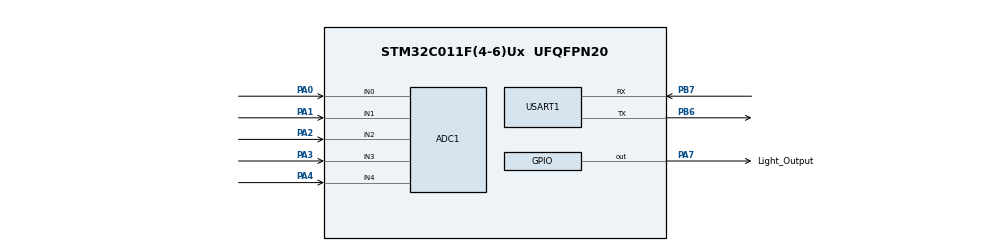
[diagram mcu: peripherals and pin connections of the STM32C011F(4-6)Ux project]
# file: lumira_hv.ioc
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ADC1.Channel-0\#ChannelRegularConversion=ADC_CHANNEL_0
ADC1.Channel-1\#ChannelRegularConversion=ADC_CHANNEL_1
ADC1.Channel-2\#ChannelRegularConversion=ADC_CHANNEL_2
ADC1.Channel-3\#ChannelRegularConversion=ADC_CHANNEL_3
ADC1.Channel-4\#ChannelRegularConversion=ADC_CHANNEL_4
ADC1.ContinuousConvMode=DISABLE
ADC1.DMAContinuousRequests=ENABLE
ADC1.DiscontinuousConvMode=DISABLE
ADC1.EOCSelection=ADC_EOC_SEQ_CONV
ADC1.ExternalTrigConv=ADC_EXTERNALTRIG_T3_TRGO
ADC1.NbrOfConversion=5
ADC1.NbrOfConversionFlag=1
ADC1.OffsetNumber-4\#ChannelRegularConversion=ADC_OFFSET_NONE
ADC1.Rank-0\#ChannelRegularConversion=1
ADC1.Rank-1\#ChannelRegularConversion=2
ADC1.Rank-2\#ChannelRegularConversion=3
ADC1.Rank-3\#ChannelRegularConversion=4
ADC1.Rank-4\#ChannelRegularConversion=5
ADC1.SamplingTime-0\#ChannelRegularConversion=ADC_SAMPLINGTIME_COMMON_1
ADC1.SamplingTime-1\#ChannelRegularConversion=ADC_SAMPLINGTIME_COMMON_1
ADC1.SamplingTime-2\#ChannelRegularConversion=ADC_SAMPLINGTIME_COMMON_1
ADC1.SamplingTime-3\#ChannelRegularConversion=ADC_SAMPLINGTIME_COMMON_1
ADC1.SamplingTime-4\#ChannelRegularConversion=ADC_SAMPLINGTIME_COMMON_1
ADC1.SamplingTimeCommon1=ADC_SAMPLETIME_1CYCLE_5
ADC1.SamplingTimeCommon2=ADC_SAMPLETIME_160CYCLES_5
ADC1.SelectedChannel=ADC_CHANNEL_0|ADC_CHANNEL_1|ADC_CHANNEL_2|ADC_CHANNEL_3|ADC_CHANNEL_4
ADC1.Sequencer=FULLY_CONFIGURABLE
ADC1.master=1
Dma.ADC1.0.Direction=DMA_PERIPH_TO_MEMORY
Dma.ADC1.0.EventEnable=DISABLE
Dma.ADC1.0.Instance=DMA1_Channel1
Dma.ADC1.0.MemDataAlignment=DMA_MDATAALIGN_HALFWORD
Dma.ADC1.0.MemInc=DMA_MINC_ENABLE
Dma.ADC1.0.Mode=DMA_CIRCULAR
Dma.ADC1.0.PeriphDataAlignment=DMA_PDATAALIGN_HALFWORD
Dma.ADC1.0.PeriphInc=DMA_PINC_DISABLE
Dma.ADC1.0.Polarity=HAL_DMAMUX_REQ_GEN_RISING
Dma.ADC1.0.Priority=DMA_PRIORITY_LOW
Dma.ADC1.0.RequestNumber=1
Dma.ADC1.0.SignalID=NONE
Dma.ADC1.0.SyncEnable=DISABLE
Dma.ADC1.0.SyncPolarity=HAL_DMAMUX_SYNC_NO_EVENT
Dma.ADC1.0.SyncRequestNumber=1
Dma.ADC1.0.SyncSignalID=NONE
Dma.Request0=ADC1
Mcu.Family=STM32C0
Mcu.Name=STM32C011F(4-6)Ux
Mcu.Package=UFQFPN20
NVIC.ADC1_IRQn=true\:0\:0\:false\:false\:true\:true\:true\:true
NVIC.DMA1_Channel1_IRQn=true\:0\:0\:false\:false\:true\:false\:true\:true
NVIC.USART1_IRQn=true\:0\:0\:false\:false\:true\:true\:true\:true
PA0.Signal=SharedAnalog_PA0
PA1.Signal=SharedAnalog_PA1
PA2.Signal=SharedAnalog_PA2
PA3.Signal=SharedAnalog_PA3
PA4.Signal=SharedAnalog_PA4
PA7.GPIO_Label=Light_Output
PA7.GPIO_Speed=GPIO_SPEED_FREQ_HIGH
PA7.Signal=GPIO_Output
PB6.Mode=Asynchronous
PB6.Signal=USART1_TX
PB7.Mode=Asynchronous
PB7.Signal=USART1_RX
ProjectManager.HeapSize=0x200
ProjectManager.StackSize=0x400
ProjectManager.TargetToolchain=STM32CubeIDE
RCC.ADCCLockSelection=RCC_ADCCLKSOURCE_HSIKER
RCC.ADCFreq_Value=24000000
RCC.AHBFreq_Value=48000000
RCC.CortexFreq_Value=48000000
RCC.EXTERNAL_CLOCK_VALUE=12288000
RCC.HCLKFreq_Value=48000000
RCC.HSE_VALUE=8000000
RCC.HSIKERCLKDivider=RCC_HSIKER_DIV2
RCC.HSISYSCLKDivider=RCC_HSI_DIV1
RCC.HSI_VALUE=48000000
RCC.LSE_VALUE=32768
RCC.SYSCLKFreq_VALUE=48000000
SH.SharedAnalog_PA0.0=GPIO_Analog
SH.SharedAnalog_PA0.1=ADC1_IN0,IN0
SH.SharedAnalog_PA1.0=GPIO_Analog
SH.SharedAnalog_PA1.1=ADC1_IN1,IN1
SH.SharedAnalog_PA2.0=GPIO_Analog
SH.SharedAnalog_PA2.1=ADC1_IN2,IN2
SH.SharedAnalog_PA3.0=GPIO_Analog
SH.SharedAnalog_PA3.1=ADC1_IN3,IN3
SH.SharedAnalog_PA4.0=GPIO_Analog
SH.SharedAnalog_PA4.1=ADC1_IN4,IN4
TIM3.Period=4799
TIM3.Prescaler=0
TIM3.TIM_MasterOutputTrigger=TIM_TRGO_UPDATE
USART1.VirtualMode-Asynchronous=VM_ASYNC
VP_TIM3_VS_ClockSourceINT.Mode=Internal
board=custom

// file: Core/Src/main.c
/* USER CODE BEGIN Header */
/**
 ******************************************************************************
 * @file           : main.c
 * @brief          : Main program body
 ******************************************************************************
 * @attention
 *
 * Copyright (c) 2026 STMicroelectronics.
 * All rights reserved.
 *
 * This software is licensed under terms that can be found in the LICENSE file
 * in the root directory of this software component.
 * If no LICENSE file comes with this software, it is provided AS-IS.
 *
 ******************************************************************************
 */
/* USER CODE END Header */
#include "main.h"

/* USER CODE BEGIN Includes */
#include <string.h>
#include <stdio.h>
#include <math.h>
/* USER CODE END Includes */

/* USER CODE BEGIN PD */
#define SYSCLK_HZ (48000000UL)
#define SAMPLE_PERIOD_US (100UL)
#define SAMPLE_TIMER_ARR ((SYSCLK_HZ / 1000000UL) * SAMPLE_PERIOD_US - 1UL) /* 4800-1 */

#define ADC_SEQ_LEN (5U)
#define N_RMS (128U)

/* placeholders - adjust to your hardware scaling */
#define ADC_REF_VOLT (3.3)
#define ADC_MAX_COUNTS (4095.0)
#define NEUTRAL_ADC_COUNTS (2048.0)

#define ADC_NUM_CH 5U
#define ADC_FRAMES 8U
#define ADC_DATA_BUFFER_SIZE (ADC_NUM_CH * ADC_FRAMES)
#define ADC_DELAY_CALIB_ENABLE_CPU_CYCLES (LL_ADC_DELAY_CALIB_ENABLE_ADC_CYCLES * 32)
#define VDDA_APPLI (3300U)
#define MSG_BUFFER_SIZE (64U)
/* USER CODE END PD */

/* USER CODE BEGIN PV */
uint16_t voltageRawValue[ADC_DATA_BUFFER_SIZE];
__IO uint8_t adcDmaTransferStatus = 2; // 2 = idle / nothing ready yet;
/* USER CODE END PV */

void SystemClock_Config(void);
static void MX_GPIO_Init(void);
static void MX_DMA_Init(void);
static void MX_USART1_UART_Init(void);
static void MX_ADC1_Init(void);
static void MX_TIM3_Init(void);
/* USER CODE BEGIN PFP */
static void USART1_Write(const char *s);

void ADC_Calibration_Start();
void ADC_DMA_Start();
void TIM_Base_Start();
/* USER CODE END PFP */

int main(void)
{

  /* USER CODE BEGIN 1 */
  uint32_t startIndex = 0;
  /* USER CODE END 1 */

  /* MCU Configuration--------------------------------------------------------*/

  /* Reset of all peripherals, Initializes the Flash interface and the Systick. */
  LL_APB2_GRP1_EnableClock(LL_APB2_GRP1_PERIPH_SYSCFG);
  LL_APB1_GRP1_EnableClock(LL_APB1_GRP1_PERIPH_PWR);

  /* SysTick_IRQn interrupt configuration */
  NVIC_SetPriority(SysTick_IRQn, 3);

  /* Configure the system clock */
  SystemClock_Config();

  /* Initialize all configured peripherals */
  MX_GPIO_Init();
  MX_DMA_Init();
  MX_USART1_UART_Init();
  MX_ADC1_Init();
  MX_TIM3_Init();
  /* USER CODE BEGIN 2 */
  LL_GPIO_ResetOutputPin(Light_Output_GPIO_Port, Light_Output_Pin);
  ADC_Calibration_Start();
  ADC_DMA_Start();
  TIM_Base_Start();
  /* USER CODE END 2 */

  /* Infinite loop */
  /* USER CODE BEGIN WHILE */

  char buf[MSG_BUFFER_SIZE];

  while (1)
  {
    if ((adcDmaTransferStatus == 1) || (adcDmaTransferStatus == 0))
    {
      uint8_t st = adcDmaTransferStatus;
      adcDmaTransferStatus = 2;

      startIndex = (st == 1) ? ADC_DATA_BUFFER_SIZE / 2 : 0;

      uint16_t ch0 = voltageRawValue[startIndex + 0];
      uint16_t ch1 = voltageRawValue[startIndex + 1];
      uint16_t ch2 = voltageRawValue[startIndex + 2];
      uint16_t ch3 = voltageRawValue[startIndex + 3];
      uint16_t ch4 = voltageRawValue[startIndex + 4];

      snprintf(buf, sizeof(buf),
               "ADC (%s): ch0=%u ch1=%u ch2=%u ch3=%u ch4=%u\r\n",
               (st == 0) ? "HT" : "TC",
               ch0, ch1, ch2, ch3, ch4);
      USART1_Write(buf);
    }

    /* slow down printing so UART keeps up */
    LL_mDelay(200); // 200 ms
    /* USER CODE END WHILE */

  }
}

void SystemClock_Config(void)
{

  LL_FLASH_SetLatency(LL_FLASH_LATENCY_1);

  /* HSI configuration and activation */
  LL_RCC_HSI_Enable();
  while(LL_RCC_HSI_IsReady() != 1)
  {
  }

  LL_RCC_HSI_SetCalibTrimming(64);
  LL_RCC_SetHSIDiv(LL_RCC_HSI_DIV_1);
  LL_RCC_SetHSIKERDiv(LL_RCC_HSIKER_DIV_2);
  /* Set AHB prescaler*/
  LL_RCC_SetAHBPrescaler(LL_RCC_HCLK_DIV_1);

  /* Sysclk activation on the HSI */
  LL_RCC_SetSysClkSource(LL_RCC_SYS_CLKSOURCE_HSI);
  while(LL_RCC_GetSysClkSource() != LL_RCC_SYS_CLKSOURCE_STATUS_HSI)
  {
  }

  /* Set APB1 prescaler*/
  LL_RCC_SetAPB1Prescaler(LL_RCC_APB1_DIV_1);
  LL_Init1msTick(48000000);
  /* Update CMSIS variable (which can be updated also through SystemCoreClockUpdate function) */
  LL_SetSystemCoreClock(48000000);
}

static void MX_ADC1_Init(void)
{

  LL_ADC_InitTypeDef ADC_InitStruct = {0};
  LL_ADC_REG_InitTypeDef ADC_REG_InitStruct = {0};

  LL_GPIO_InitTypeDef GPIO_InitStruct = {0};

  LL_RCC_SetADCClockSource(LL_RCC_ADC_CLKSOURCE_HSIKER);

  /* Peripheral clock enable */
  LL_APB2_GRP1_EnableClock(LL_APB2_GRP1_PERIPH_ADC);

  LL_IOP_GRP1_EnableClock(LL_IOP_GRP1_PERIPH_GPIOA);
  /**ADC1 GPIO Configuration
  PA0   ------> ADC1_IN0
  PA1   ------> ADC1_IN1
  PA2   ------> ADC1_IN2
  PA3   ------> ADC1_IN3
  PA4   ------> ADC1_IN4
  */
  GPIO_InitStruct.Pin = LL_GPIO_PIN_0;
  GPIO_InitStruct.Mode = LL_GPIO_MODE_ANALOG;
  GPIO_InitStruct.Pull = LL_GPIO_PULL_NO;
  LL_GPIO_Init(GPIOA, &GPIO_InitStruct);

  GPIO_InitStruct.Pin = LL_GPIO_PIN_1;
  GPIO_InitStruct.Mode = LL_GPIO_MODE_ANALOG;
  GPIO_InitStruct.Pull = LL_GPIO_PULL_NO;
  LL_GPIO_Init(GPIOA, &GPIO_InitStruct);

  GPIO_InitStruct.Pin = LL_GPIO_PIN_2;
  GPIO_InitStruct.Mode = LL_GPIO_MODE_ANALOG;
  GPIO_InitStruct.Pull = LL_GPIO_PULL_NO;
  LL_GPIO_Init(GPIOA, &GPIO_InitStruct);

  GPIO_InitStruct.Pin = LL_GPIO_PIN_3;
  GPIO_InitStruct.Mode = LL_GPIO_MODE_ANALOG;
  GPIO_InitStruct.Pull = LL_GPIO_PULL_NO;
  LL_GPIO_Init(GPIOA, &GPIO_InitStruct);

  GPIO_InitStruct.Pin = LL_GPIO_PIN_4;
  GPIO_InitStruct.Mode = LL_GPIO_MODE_ANALOG;
  GPIO_InitStruct.Pull = LL_GPIO_PULL_NO;
  LL_GPIO_Init(GPIOA, &GPIO_InitStruct);

  /* ADC1 DMA Init */

  /* ADC1 Init */
  LL_DMA_SetPeriphRequest(DMA1, LL_DMA_CHANNEL_1, LL_DMAMUX_REQ_ADC1);

  LL_DMA_SetDataTransferDirection(DMA1, LL_DMA_CHANNEL_1, LL_DMA_DIRECTION_PERIPH_TO_MEMORY);

  LL_DMA_SetChannelPriorityLevel(DMA1, LL_DMA_CHANNEL_1, LL_DMA_PRIORITY_LOW);

  LL_DMA_SetMode(DMA1, LL_DMA_CHANNEL_1, LL_DMA_MODE_CIRCULAR);

  LL_DMA_SetPeriphIncMode(DMA1, LL_DMA_CHANNEL_1, LL_DMA_PERIPH_NOINCREMENT);

  LL_DMA_SetMemoryIncMode(DMA1, LL_DMA_CHANNEL_1, LL_DMA_MEMORY_INCREMENT);

  LL_DMA_SetPeriphSize(DMA1, LL_DMA_CHANNEL_1, LL_DMA_PDATAALIGN_HALFWORD);

  LL_DMA_SetMemorySize(DMA1, LL_DMA_CHANNEL_1, LL_DMA_MDATAALIGN_HALFWORD);

  /* ADC1 interrupt Init */
  NVIC_SetPriority(ADC1_IRQn, 0);
  NVIC_EnableIRQ(ADC1_IRQn);

  /** Configure the global features of the ADC (Clock, Resolution, Data Alignment and number of conversion)
  */

   #define ADC_CHANNEL_CONF_RDY_TIMEOUT_MS ( 1U)
   #if (USE_TIMEOUT == 1)
   uint32_t Timeout ; /* Variable used for Timeout management */
   #endif /* USE_TIMEOUT */

  ADC_InitStruct.Clock = LL_ADC_CLOCK_SYNC_PCLK_DIV2;
  ADC_InitStruct.Resolution = LL_ADC_RESOLUTION_12B;
  ADC_InitStruct.DataAlignment = LL_ADC_DATA_ALIGN_RIGHT;
  ADC_InitStruct.LowPowerMode = LL_ADC_LP_MODE_NONE;
  LL_ADC_Init(ADC1, &ADC_InitStruct);
  LL_ADC_REG_SetSequencerConfigurable(ADC1, LL_ADC_REG_SEQ_CONFIGURABLE);

   /* Poll for ADC channel configuration ready */
   #if (USE_TIMEOUT == 1)
   Timeout = ADC_CHANNEL_CONF_RDY_TIMEOUT_MS;
   #endif /* USE_TIMEOUT */
   while (LL_ADC_IsActiveFlag_CCRDY(ADC1) == 0)
     {
   #if (USE_TIMEOUT == 1)
   /* Check Systick counter flag to decrement the time-out value */
   if (LL_SYSTICK_IsActiveCounterFlag())
     {
   if(Timeout-- == 0)
         {
   Error_Handler();
         }
     }
   #endif /* USE_TIMEOUT */
     }
   /* Clear flag ADC channel configuration ready */
   LL_ADC_ClearFlag_CCRDY(ADC1);
  ADC_REG_InitStruct.TriggerSource = LL_ADC_REG_TRIG_EXT_TIM3_TRGO;
  ADC_REG_InitStruct.SequencerLength = LL_ADC_REG_SEQ_SCAN_ENABLE_5RANKS;
  ADC_REG_InitStruct.SequencerDiscont = LL_ADC_REG_SEQ_DISCONT_DISABLE;
  ADC_REG_InitStruct.ContinuousMode = LL_ADC_REG_CONV_SINGLE;
  ADC_REG_InitStruct.DMATransfer = LL_ADC_REG_DMA_TRANSFER_UNLIMITED;
  ADC_REG_InitStruct.Overrun = LL_ADC_REG_OVR_DATA_PRESERVED;
  LL_ADC_REG_Init(ADC1, &ADC_REG_InitStruct);
  LL_ADC_SetOverSamplingScope(ADC1, LL_ADC_OVS_DISABLE);
  LL_ADC_SetTriggerFrequencyMode(ADC1, LL_ADC_CLOCK_FREQ_MODE_HIGH);
  LL_ADC_REG_SetTriggerEdge(ADC1, LL_ADC_REG_TRIG_EXT_RISING);
  LL_ADC_SetSamplingTimeCommonChannels(ADC1, LL_ADC_SAMPLINGTIME_COMMON_1, LL_ADC_SAMPLINGTIME_1CYCLE_5);
  LL_ADC_SetSamplingTimeCommonChannels(ADC1, LL_ADC_SAMPLINGTIME_COMMON_2, LL_ADC_SAMPLINGTIME_160CYCLES_5);
  LL_ADC_DisableIT_EOC(ADC1);
  LL_ADC_DisableIT_EOS(ADC1);

   /* Enable ADC internal voltage regulator */
   LL_ADC_EnableInternalRegulator(ADC1);
   /* Delay for ADC internal voltage regulator stabilization. */
   /* Compute number of CPU cycles to wait for, from delay in us. */
   /* Note: Variable divided by 2 to compensate partially */
   /* CPU processing cycles (depends on compilation optimization). */
   /* Note: If system core clock frequency is below 200kHz, wait time */
   /* is only a few CPU processing cycles. */
   uint32_t wait_loop_index;
   wait_loop_index = ((LL_ADC_DELAY_INTERNAL_REGUL_STAB_US * (SystemCoreClock / (100000 * 2))) / 10);
   while(wait_loop_index != 0)
     {
   wait_loop_index--;
     }

  /** Configure Regular Channel
  */
  LL_ADC_REG_SetSequencerRanks(ADC1, LL_ADC_REG_RANK_1, LL_ADC_CHANNEL_0);

   /* Poll for ADC channel configuration ready */
   #if (USE_TIMEOUT == 1)
   Timeout = ADC_CHANNEL_CONF_RDY_TIMEOUT_MS;
   #endif /* USE_TIMEOUT */
   while (LL_ADC_IsActiveFlag_CCRDY(ADC1) == 0)
     {
   #if (USE_TIMEOUT == 1)
   /* Check Systick counter flag to decrement the time-out value */
   if (LL_SYSTICK_IsActiveCounterFlag())
     {
   if(Timeout-- == 0)
         {
   Error_Handler();
         }
     }
   #endif /* USE_TIMEOUT */
     }
   /* Clear flag ADC channel configuration ready */
   LL_ADC_ClearFlag_CCRDY(ADC1);
  LL_ADC_SetChannelSamplingTime(ADC1, LL_ADC_CHANNEL_0, LL_ADC_SAMPLINGTIME_COMMON_1);

  /** Configure Regular Channel
  */
  LL_ADC_REG_SetSequencerRanks(ADC1, LL_ADC_REG_RANK_2, LL_ADC_CHANNEL_1);

   /* Poll for ADC channel configuration ready */
   #if (USE_TIMEOUT == 1)
   Timeout = ADC_CHANNEL_CONF_RDY_TIMEOUT_MS;
   #endif /* USE_TIMEOUT */
   while (LL_ADC_IsActiveFlag_CCRDY(ADC1) == 0)
     {
   #if (USE_TIMEOUT == 1)
   /* Check Systick counter flag to decrement the time-out value */
   if (LL_SYSTICK_IsActiveCounterFlag())
     {
   if(Timeout-- == 0)
         {
   Error_Handler();
         }
     }
   #endif /* USE_TIMEOUT */
     }
   /* Clear flag ADC channel configuration ready */
   LL_ADC_ClearFlag_CCRDY(ADC1);
  LL_ADC_SetChannelSamplingTime(ADC1, LL_ADC_CHANNEL_1, LL_ADC_SAMPLINGTIME_COMMON_1);

  /** Configure Regular Channel
  */
  LL_ADC_REG_SetSequencerRanks(ADC1, LL_ADC_REG_RANK_3, LL_ADC_CHANNEL_2);

   /* Poll for ADC channel configuration ready */
   #if (USE_TIMEOUT == 1)
   Timeout = ADC_CHANNEL_CONF_RDY_TIMEOUT_MS;
   #endif /* USE_TIMEOUT */
   while (LL_ADC_IsActiveFlag_CCRDY(ADC1) == 0)
     {
   #if (USE_TIMEOUT == 1)
   /* Check Systick counter flag to decrement the time-out value */
   if (LL_SYSTICK_IsActiveCounterFlag())
     {
   if(Timeout-- == 0)
         {
   Error_Handler();
         }
     }
   #endif /* USE_TIMEOUT */
     }
   /* Clear flag ADC channel configuration ready */
   LL_ADC_ClearFlag_CCRDY(ADC1);
  LL_ADC_SetChannelSamplingTime(ADC1, LL_ADC_CHANNEL_2, LL_ADC_SAMPLINGTIME_COMMON_1);

  /** Configure Regular Channel
  */
  LL_ADC_REG_SetSequencerRanks(ADC1, LL_ADC_REG_RANK_4, LL_ADC_CHANNEL_3);

   /* Poll for ADC channel configuration ready */
   #if (USE_TIMEOUT == 1)
   Timeout = ADC_CHANNEL_CONF_RDY_TIMEOUT_MS;
   #endif /* USE_TIMEOUT */
   while (LL_ADC_IsActiveFlag_CCRDY(ADC1) == 0)
     {
   #if (USE_TIMEOUT == 1)
   /* Check Systick counter flag to decrement the time-out value */
   if (LL_SYSTICK_IsActiveCounterFlag())
     {
   if(Timeout-- == 0)
         {
   Error_Handler();
         }
     }
   #endif /* USE_TIMEOUT */
     }
   /* Clear flag ADC channel configuration ready */
   LL_ADC_ClearFlag_CCRDY(ADC1);
  LL_ADC_SetChannelSamplingTime(ADC1, LL_ADC_CHANNEL_3, LL_ADC_SAMPLINGTIME_COMMON_1);

  /** Configure Regular Channel
  */
  LL_ADC_REG_SetSequencerRanks(ADC1, LL_ADC_REG_RANK_5, LL_ADC_CHANNEL_4);

   /* Poll for ADC channel configuration ready */
   #if (USE_TIMEOUT == 1)
   Timeout = ADC_CHANNEL_CONF_RDY_TIMEOUT_MS;
   #endif /* USE_TIMEOUT */
   while (LL_ADC_IsActiveFlag_CCRDY(ADC1) == 0)
     {
   #if (USE_TIMEOUT == 1)
   /* Check Systick counter flag to decrement the time-out value */
   if (LL_SYSTICK_IsActiveCounterFlag())
     {
   if(Timeout-- == 0)
         {
   Error_Handler();
         }
     }
   #endif /* USE_TIMEOUT */
     }
   /* Clear flag ADC channel configuration ready */
   LL_ADC_ClearFlag_CCRDY(ADC1);
  LL_ADC_SetChannelSamplingTime(ADC1, LL_ADC_CHANNEL_4, LL_ADC_SAMPLINGTIME_COMMON_1);

}

static void MX_TIM3_Init(void)
{

  LL_TIM_InitTypeDef TIM_InitStruct = {0};

  /* Peripheral clock enable */
  LL_APB1_GRP1_EnableClock(LL_APB1_GRP1_PERIPH_TIM3);

  TIM_InitStruct.Prescaler = 0;
  TIM_InitStruct.CounterMode = LL_TIM_COUNTERMODE_UP;
  TIM_InitStruct.Autoreload = 4799;
  TIM_InitStruct.ClockDivision = LL_TIM_CLOCKDIVISION_DIV1;
  LL_TIM_Init(TIM3, &TIM_InitStruct);
  LL_TIM_DisableARRPreload(TIM3);
  LL_TIM_SetClockSource(TIM3, LL_TIM_CLOCKSOURCE_INTERNAL);
  LL_TIM_SetTriggerOutput(TIM3, LL_TIM_TRGO_UPDATE);
  LL_TIM_DisableMasterSlaveMode(TIM3);

}

static void MX_USART1_UART_Init(void)
{

  LL_USART_InitTypeDef USART_InitStruct = {0};

  LL_GPIO_InitTypeDef GPIO_InitStruct = {0};

  LL_RCC_SetUSARTClockSource(LL_RCC_USART1_CLKSOURCE_PCLK1);

  /* Peripheral clock enable */
  LL_APB2_GRP1_EnableClock(LL_APB2_GRP1_PERIPH_USART1);

  LL_IOP_GRP1_EnableClock(LL_IOP_GRP1_PERIPH_GPIOB);
  /**USART1 GPIO Configuration
  PB6   ------> USART1_TX
  PB7   ------> USART1_RX
  */
  GPIO_InitStruct.Pin = LL_GPIO_PIN_6;
  GPIO_InitStruct.Mode = LL_GPIO_MODE_ALTERNATE;
  GPIO_InitStruct.Speed = LL_GPIO_SPEED_FREQ_LOW;
  GPIO_InitStruct.OutputType = LL_GPIO_OUTPUT_PUSHPULL;
  GPIO_InitStruct.Pull = LL_GPIO_PULL_NO;
  GPIO_InitStruct.Alternate = LL_GPIO_AF_0;
  LL_GPIO_Init(GPIOB, &GPIO_InitStruct);

  GPIO_InitStruct.Pin = LL_GPIO_PIN_7;
  GPIO_InitStruct.Mode = LL_GPIO_MODE_ALTERNATE;
  GPIO_InitStruct.Speed = LL_GPIO_SPEED_FREQ_LOW;
  GPIO_InitStruct.OutputType = LL_GPIO_OUTPUT_PUSHPULL;
  GPIO_InitStruct.Pull = LL_GPIO_PULL_NO;
  GPIO_InitStruct.Alternate = LL_GPIO_AF_0;
  LL_GPIO_Init(GPIOB, &GPIO_InitStruct);

  /* USART1 interrupt Init */
  NVIC_SetPriority(USART1_IRQn, 0);
  NVIC_EnableIRQ(USART1_IRQn);

  USART_InitStruct.PrescalerValue = LL_USART_PRESCALER_DIV1;
  USART_InitStruct.BaudRate = 115200;
  USART_InitStruct.DataWidth = LL_USART_DATAWIDTH_8B;
  USART_InitStruct.StopBits = LL_USART_STOPBITS_1;
  USART_InitStruct.Parity = LL_USART_PARITY_NONE;
  USART_InitStruct.TransferDirection = LL_USART_DIRECTION_TX_RX;
  USART_InitStruct.HardwareFlowControl = LL_USART_HWCONTROL_NONE;
  USART_InitStruct.OverSampling = LL_USART_OVERSAMPLING_16;
  LL_USART_Init(USART1, &USART_InitStruct);
  LL_USART_SetTXFIFOThreshold(USART1, LL_USART_FIFOTHRESHOLD_1_8);
  LL_USART_SetRXFIFOThreshold(USART1, LL_USART_FIFOTHRESHOLD_1_8);
  LL_USART_DisableFIFO(USART1);
  LL_USART_ConfigAsyncMode(USART1);

  LL_USART_Enable(USART1);

  /* Polling USART1 initialisation */
  while((!(LL_USART_IsActiveFlag_TEACK(USART1))) || (!(LL_USART_IsActiveFlag_REACK(USART1))))
  {
  }

}

static void MX_DMA_Init(void)
{

  /* Init with LL driver */
  /* DMA controller clock enable */
  LL_AHB1_GRP1_EnableClock(LL_AHB1_GRP1_PERIPH_DMA1);

  /* DMA interrupt init */
  /* DMA1_Channel1_IRQn interrupt configuration */
  NVIC_SetPriority(DMA1_Channel1_IRQn, 0);
  NVIC_EnableIRQ(DMA1_Channel1_IRQn);

}

static void MX_GPIO_Init(void)
{
  LL_GPIO_InitTypeDef GPIO_InitStruct = {0};

  /* GPIO Ports Clock Enable */
  LL_IOP_GRP1_EnableClock(LL_IOP_GRP1_PERIPH_GPIOA);
  LL_IOP_GRP1_EnableClock(LL_IOP_GRP1_PERIPH_GPIOB);

  /**/
  LL_GPIO_ResetOutputPin(Light_Output_GPIO_Port, Light_Output_Pin);

  /**/
  GPIO_InitStruct.Pin = Light_Output_Pin;
  GPIO_InitStruct.Mode = LL_GPIO_MODE_OUTPUT;
  GPIO_InitStruct.Speed = LL_GPIO_SPEED_FREQ_HIGH;
  GPIO_InitStruct.OutputType = LL_GPIO_OUTPUT_PUSHPULL;
  GPIO_InitStruct.Pull = LL_GPIO_PULL_NO;
  LL_GPIO_Init(Light_Output_GPIO_Port, &GPIO_InitStruct);

}

/* USER CODE BEGIN 4 */
void ADC_Calibration_Start()
{
  __IO uint32_t wait_loop_index = 0U;
  __IO uint32_t backup_setting_adc_dma_transfer = 0U;

  // Check if ADC is disabled
  if (LL_ADC_IsEnabled(ADC1) == 0)
  {
    LL_ADC_EnableInternalRegulator(ADC1);
    // Delay for ADC Internal voltage regulator stabilisation
    wait_loop_index = (LL_ADC_DELAY_INTERNAL_REGUL_STAB_US * (SystemCoreClock / (100000 * 2)) / 10);

    while (wait_loop_index != 0)
    {
      wait_loop_index--;
    }

    /* Disable ADC DMA transfer request during calibration */
    backup_setting_adc_dma_transfer = LL_ADC_REG_GetDMATransfer(ADC1);
    LL_ADC_REG_SetDMATransfer(ADC1, LL_ADC_REG_DMA_TRANSFER_NONE);

    /* Run ADC self calibration */
    LL_ADC_StartCalibration(ADC1);

    /* Poll for ADC effectively calibrated */
    wait_loop_index = (ADC_DELAY_CALIB_ENABLE_CPU_CYCLES >> 1);
    while (LL_ADC_IsCalibrationOnGoing(ADC1) != 0)
    {
      /* Check Systick counter flag to decrement the time-out value */
      if (LL_SYSTICK_IsActiveCounterFlag())
      {
        if (wait_loop_index-- == 0)
        {
          /* Time-out occurred */
        }
      }
    }
    /* Restore ADC DMA transfer request after calibration */
    LL_ADC_REG_SetDMATransfer(ADC1, backup_setting_adc_dma_transfer);
  }
}

void ADC_DMA_Start()
{
  /* Configure the source and the destination address */
  LL_DMA_ConfigAddresses(DMA1, LL_DMA_CHANNEL_1, LL_ADC_DMA_GetRegAddr(ADC1, LL_ADC_DMA_REG_REGULAR_DATA), (uint32_t)voltageRawValue, LL_DMA_DIRECTION_PERIPH_TO_MEMORY);

  /* Set the Data Length */
  LL_DMA_SetDataLength(DMA1, LL_DMA_CHANNEL_1, ADC_DATA_BUFFER_SIZE);

  /* Enable DMA Transfer Interruption : Transfer complete, Half transfer, Error Transfer */
  LL_DMA_EnableIT_TC(DMA1, LL_DMA_CHANNEL_1);
  LL_DMA_EnableIT_HT(DMA1, LL_DMA_CHANNEL_1);
  LL_DMA_EnableIT_TE(DMA1, LL_DMA_CHANNEL_1);

  /* Enable DMA Channel */
  LL_DMA_EnableChannel(DMA1, LL_DMA_CHANNEL_1);

  /* Enable the ADC and start the conversion*/
  LL_ADC_Enable(ADC1);
  while (LL_ADC_IsActiveFlag_ADRDY(ADC1) == 0)
  {
  }
  LL_ADC_ClearFlag_ADRDY(ADC1);
  LL_ADC_REG_StartConversion(ADC1);
}

void TIM_Base_Start()
{
  LL_TIM_EnableCounter(TIM3);
}

void AdcDmaTransferComplete_Callback()
{
  adcDmaTransferStatus = 1;
}

void AdcDmaTransferHalf_Callback()
{
  adcDmaTransferStatus = 0;
}

void AdcDmaTransferError_Callback()
{
}

void USART1_Write(const char *s)
{
  while (*s)
  {
    while (!LL_USART_IsActiveFlag_TXE(USART1))
    {
    }
    LL_USART_TransmitData8(USART1, (uint8_t)*s++);
  }
}
/* USER CODE END 4 */

void Error_Handler(void)
{
  __disable_irq();
  while (1)
  {
  }
}
